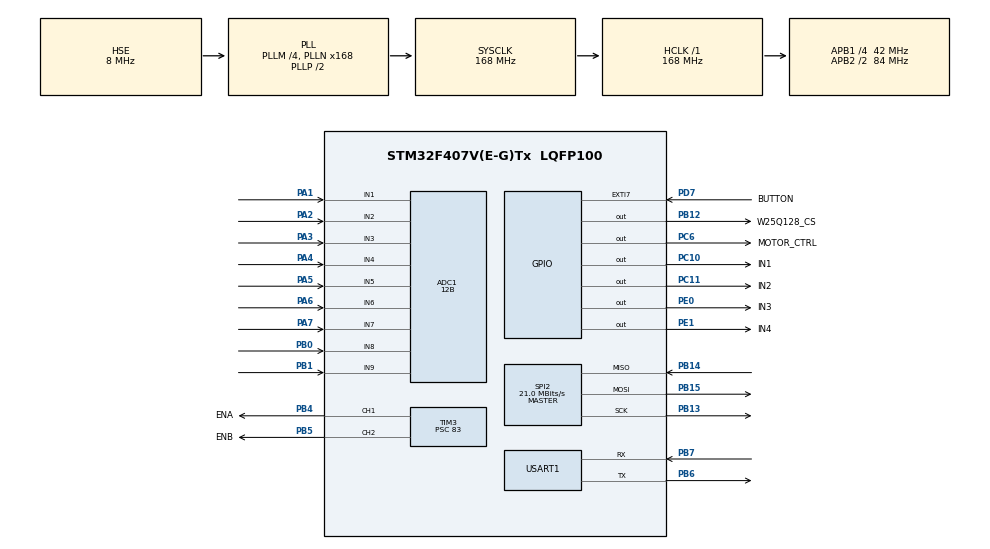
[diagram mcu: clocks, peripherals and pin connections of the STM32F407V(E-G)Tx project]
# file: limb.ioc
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ADC1.Channel-0\#ChannelRegularConversion=ADC_CHANNEL_1
ADC1.Channel-1\#ChannelRegularConversion=ADC_CHANNEL_2
ADC1.Channel-2\#ChannelRegularConversion=ADC_CHANNEL_3
ADC1.Channel-3\#ChannelRegularConversion=ADC_CHANNEL_4
ADC1.Channel-4\#ChannelRegularConversion=ADC_CHANNEL_5
ADC1.Channel-5\#ChannelRegularConversion=ADC_CHANNEL_6
ADC1.Channel-6\#ChannelRegularConversion=ADC_CHANNEL_7
ADC1.Channel-7\#ChannelRegularConversion=ADC_CHANNEL_8
ADC1.Channel-8\#ChannelRegularConversion=ADC_CHANNEL_9
ADC1.ClockPrescaler=ADC_CLOCK_SYNC_PCLK_DIV8
ADC1.ContinuousConvMode=ENABLE
ADC1.DMAContinuousRequests=ENABLE
ADC1.DataAlign=ADC_DATAALIGN_RIGHT
ADC1.DiscontinuousConvMode=DISABLE
ADC1.EOCSelection=ADC_EOC_SINGLE_CONV
ADC1.EnableAnalogWatchDog=false
ADC1.ExternalTrigConv=ADC_SOFTWARE_START
ADC1.ExternalTrigConvEdge=ADC_EXTERNALTRIGCONVEDGE_NONE
ADC1.InjNumberOfConversion=0
ADC1.NbrOfConversion=9
ADC1.NbrOfConversionFlag=1
ADC1.Rank-0\#ChannelRegularConversion=1
ADC1.Rank-1\#ChannelRegularConversion=2
ADC1.Rank-2\#ChannelRegularConversion=3
ADC1.Rank-3\#ChannelRegularConversion=4
ADC1.Rank-4\#ChannelRegularConversion=5
ADC1.Rank-5\#ChannelRegularConversion=6
ADC1.Rank-6\#ChannelRegularConversion=7
ADC1.Rank-7\#ChannelRegularConversion=8
ADC1.Rank-8\#ChannelRegularConversion=9
ADC1.Resolution=ADC_RESOLUTION_12B
ADC1.SamplingTime-0\#ChannelRegularConversion=ADC_SAMPLETIME_144CYCLES
ADC1.SamplingTime-1\#ChannelRegularConversion=ADC_SAMPLETIME_144CYCLES
ADC1.SamplingTime-2\#ChannelRegularConversion=ADC_SAMPLETIME_144CYCLES
ADC1.SamplingTime-3\#ChannelRegularConversion=ADC_SAMPLETIME_144CYCLES
ADC1.SamplingTime-4\#ChannelRegularConversion=ADC_SAMPLETIME_144CYCLES
ADC1.SamplingTime-5\#ChannelRegularConversion=ADC_SAMPLETIME_144CYCLES
ADC1.SamplingTime-6\#ChannelRegularConversion=ADC_SAMPLETIME_144CYCLES
ADC1.SamplingTime-7\#ChannelRegularConversion=ADC_SAMPLETIME_144CYCLES
ADC1.SamplingTime-8\#ChannelRegularConversion=ADC_SAMPLETIME_144CYCLES
ADC1.ScanConvMode=ENABLE
ADC1.master=1
Dma.ADC1.0.Direction=DMA_PERIPH_TO_MEMORY
Dma.ADC1.0.FIFOMode=DMA_FIFOMODE_DISABLE
Dma.ADC1.0.Instance=DMA2_Stream0
Dma.ADC1.0.MemDataAlignment=DMA_MDATAALIGN_WORD
Dma.ADC1.0.MemInc=DMA_MINC_ENABLE
Dma.ADC1.0.Mode=DMA_CIRCULAR
Dma.ADC1.0.PeriphDataAlignment=DMA_PDATAALIGN_WORD
Dma.ADC1.0.PeriphInc=DMA_PINC_DISABLE
Dma.ADC1.0.Priority=DMA_PRIORITY_HIGH
Dma.Request0=ADC1
Mcu.Family=STM32F4
Mcu.Name=STM32F407V(E-G)Tx
Mcu.Package=LQFP100
NVIC.DMA2_Stream0_IRQn=true\:3\:0\:true\:false\:true\:false
NVIC.EXTI9_5_IRQn=true\:1\:0\:true\:false\:true\:true
NVIC.PriorityGroup=NVIC_PRIORITYGROUP_2
NVIC.TIM3_IRQn=true\:3\:0\:true\:false\:true\:true
NVIC.TIM6_DAC_IRQn=true\:2\:0\:true\:false\:true\:true
PA1.Signal=ADCx_IN1
PA2.Signal=ADCx_IN2
PA3.Signal=ADCx_IN3
PA4.Signal=ADCx_IN4
PA5.Signal=ADCx_IN5
PA6.Signal=ADCx_IN6
PA7.Signal=ADCx_IN7
PB0.Signal=ADCx_IN8
PB1.Signal=ADCx_IN9
PB12.GPIO_Label=W25Q128_CS
PB12.PinState=GPIO_PIN_SET
PB12.Signal=GPIO_Output
PB13.Mode=Full_Duplex_Master
PB13.Signal=SPI2_SCK
PB14.Mode=Full_Duplex_Master
PB14.Signal=SPI2_MISO
PB15.Mode=Full_Duplex_Master
PB15.Signal=SPI2_MOSI
PB4.GPIO_Label=ENA
PB4.Signal=S_TIM3_CH1
PB5.GPIO_Label=ENB
PB5.Signal=S_TIM3_CH2
PB6.Mode=Asynchronous
PB6.Signal=USART1_TX
PB7.Mode=Asynchronous
PB7.Signal=USART1_RX
PC10.GPIO_Label=IN1
PC10.Signal=GPIO_Output
PC11.GPIO_Label=IN2
PC11.Signal=GPIO_Output
PC6.GPIO_Label=MOTOR_CTRL
PC6.PinState=GPIO_PIN_SET
PC6.Signal=GPIO_Output
PD7.GPIO_Label=BUTTON
PD7.GPIO_ModeDefaultEXTI=GPIO_MODE_IT_FALLING
PD7.GPIO_PuPd=GPIO_PULLUP
PD7.Signal=GPXTI7
PE0.GPIO_Label=IN3
PE0.Signal=GPIO_Output
PE1.GPIO_Label=IN4
PE1.Signal=GPIO_Output
PH0-OSC_IN.Mode=HSE-External-Oscillator
PH0-OSC_IN.Signal=RCC_OSC_IN
PH1-OSC_OUT.Mode=HSE-External-Oscillator
PH1-OSC_OUT.Signal=RCC_OSC_OUT
ProjectManager.HeapSize=0x200
ProjectManager.StackSize=0x400
ProjectManager.TargetToolchain=MDK-ARM V5
RCC.48MHZClocksFreq_Value=84000000
RCC.AHBFreq_Value=168000000
RCC.APB1CLKDivider=RCC_HCLK_DIV4
RCC.APB1Freq_Value=42000000
RCC.APB1TimFreq_Value=84000000
RCC.APB2CLKDivider=RCC_HCLK_DIV2
RCC.APB2Freq_Value=84000000
RCC.APB2TimFreq_Value=168000000
RCC.CortexFreq_Value=168000000
RCC.HCLKFreq_Value=168000000
RCC.HSE_VALUE=8000000
RCC.HSI_VALUE=16000000
RCC.LSE_VALUE=32768
RCC.PLLM=4
RCC.PLLN=168
RCC.PLLSourceVirtual=RCC_PLLSOURCE_HSE
RCC.SYSCLKFreq_VALUE=168000000
RCC.SYSCLKSource=RCC_SYSCLKSOURCE_PLLCLK
RCC.VCOOutputFreq_Value=336000000
SH.ADCx_IN1.0=ADC1_IN1,IN1
SH.ADCx_IN2.0=ADC1_IN2,IN2
SH.ADCx_IN3.0=ADC1_IN3,IN3
SH.ADCx_IN4.0=ADC1_IN4,IN4
SH.ADCx_IN5.0=ADC1_IN5,IN5
SH.ADCx_IN6.0=ADC1_IN6,IN6
SH.ADCx_IN7.0=ADC1_IN7,IN7
SH.ADCx_IN8.0=ADC1_IN8,IN8
SH.ADCx_IN9.0=ADC1_IN9,IN9
SH.S_TIM3_CH1.0=TIM3_CH1,PWM Generation1 CH1
SH.S_TIM3_CH2.0=TIM3_CH2,PWM Generation2 CH2
SPI2.CLKPhase=SPI_PHASE_2EDGE
SPI2.CLKPolarity=SPI_POLARITY_HIGH
SPI2.CalculateBaudRate=21.0 MBits/s
SPI2.Direction=SPI_DIRECTION_2LINES
SPI2.Mode=SPI_MODE_MASTER
SPI2.VirtualType=VM_MASTER
TIM3.Channel-PWM\ Generation1\ CH1=TIM_CHANNEL_1
TIM3.Channel-PWM\ Generation2\ CH2=TIM_CHANNEL_2
TIM3.Period=100
TIM3.Prescaler=83
TIM3.Pulse-PWM\ Generation1\ CH1=50
TIM3.Pulse-PWM\ Generation2\ CH2=80
TIM6.Period=1000
TIM6.Prescaler=83
USART1.VirtualMode=VM_ASYNC
VP_TIM6_VS_ClockSourceINT.Mode=Enable_Timer
board=limb

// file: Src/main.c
/**
  ******************************************************************************
  * File Name          : main.c
  * Description        : Main program body
  ******************************************************************************
  ** This notice applies to any and all portions of this file
  * that are not between comment pairs USER CODE BEGIN and
  * USER CODE END. Other portions of this file, whether
  * inserted by the user or by software development tools
  * are owned by their respective copyright owners.
  *
  * COPYRIGHT(c) 2018 STMicroelectronics
  *
  * Redistribution and use in source and binary forms, with or without modification,
  * are permitted provided that the following conditions are met:
  *   1. Redistributions of source code must retain the above copyright notice,
  *      this list of conditions and the following disclaimer.
  *   2. Redistributions in binary form must reproduce the above copyright notice,
  *      this list of conditions and the following disclaimer in the documentation
  *      and/or other materials provided with the distribution.
  *   3. Neither the name of STMicroelectronics nor the names of its contributors
  *      may be used to endorse or promote products derived from this software
  *      without specific prior written permission.
  *
  * THIS SOFTWARE IS PROVIDED BY THE COPYRIGHT HOLDERS AND CONTRIBUTORS "AS IS"
  * AND ANY EXPRESS OR IMPLIED WARRANTIES, INCLUDING, BUT NOT LIMITED TO, THE
  * IMPLIED WARRANTIES OF MERCHANTABILITY AND FITNESS FOR A PARTICULAR PURPOSE ARE
  * DISCLAIMED. IN NO EVENT SHALL THE COPYRIGHT HOLDER OR CONTRIBUTORS BE LIABLE
  * FOR ANY DIRECT, INDIRECT, INCIDENTAL, SPECIAL, EXEMPLARY, OR CONSEQUENTIAL
  * DAMAGES (INCLUDING, BUT NOT LIMITED TO, PROCUREMENT OF SUBSTITUTE GOODS OR
  * SERVICES; LOSS OF USE, DATA, OR PROFITS; OR BUSINESS INTERRUPTION) HOWEVER
  * CAUSED AND ON ANY THEORY OF LIABILITY, WHETHER IN CONTRACT, STRICT LIABILITY,
  * OR TORT (INCLUDING NEGLIGENCE OR OTHERWISE) ARISING IN ANY WAY OUT OF THE USE
  * OF THIS SOFTWARE, EVEN IF ADVISED OF THE POSSIBILITY OF SUCH DAMAGE.
  *
  ******************************************************************************
  */

#include "main.h"
#include "stm32f4xx_hal.h"
#include "adc.h"
#include "dma.h"
#include "spi.h"
#include "tim.h"
#include "usart.h"
#include "gpio.h"

/* USER CODE BEGIN Includes */
#include "config.h"
#include "button.h"
#include "motor.h"
#include "calculate.h"
#include "DCMotor.h"
#include "w25q128.h"

/* USER CODE END Includes */

/* USER CODE BEGIN PV */
/* Private variables ---------------------------------------------------------*/
uint8_t PredictResult[500]={0};
uint8_t motiondetect=0;
/* USER CODE END PV */

void SystemClock_Config(void);

/* USER CODE BEGIN PFP */
/* Private function prototypes -----------------------------------------------*/

/* USER CODE END PFP */

int main(void)
{

  /* MCU Configuration----------------------------------------------------------*/

  /* Reset of all peripherals, Initializes the Flash interface and the Systick. */
  HAL_Init();

  /* Configure the system clock */
  SystemClock_Config();

  /* Initialize all configured peripherals */
  MX_GPIO_Init();
  MX_DMA_Init();
  MX_ADC1_Init();
  MX_USART1_UART_Init();
  MX_TIM6_Init();
  MX_TIM3_Init();
  MX_SPI2_Init();

  /* USER CODE BEGIN 2 */
	HAL_TIM_Base_Start_IT(&htim6);//定时器中断开启
  HAL_ADC_Start_DMA(&hadc1,AD_Value,9);//ADC循环模式开启
	InitFilter();//滤波器初始化

  HAL_TIM_Base_Start_IT(&htim3);
	HAL_TIM_PWM_Start(&htim3,TIM_CHANNEL_1);
	HAL_TIM_PWM_Start(&htim3,TIM_CHANNEL_2);

	Motor_Long_Strong();//电机震动
//	MotorA_Reverse();
	MotorA_Forward();//手张开
  /* USER CODE END 2 */

  /* Infinite loop */
  /* USER CODE BEGIN WHILE */
  Extract_from_flash();

  while (1)
  {
  /* USER CODE END WHILE */

  /* USER CODE BEGIN 3 */
    #if 1
    TaskKeyFunc();
		if(TimeFlag)
		{
			TimeFlag = 0;
			DataPreProcess();
		}

    if(TrainFlag ==1)
	  {
			 if((DataBufferSize-FeatIndexReg+PushToBuf.DataIndex)%100==0)
			 {
				 if(TrainTimes<TrainTimesSet)
				 {
////////////////////////////////////////////////////////////////////////
					FeatExtract(DataBuffer);
				  if((TrainBlank+3)%50>=9)///6-46, 56-96.............
					{
						for(int i=0;i<N;i++)
						{
						 feat_matrix[WindowCount][i]=feat[i];
						}
						WindowCount++;//WindowCount++
						///训练的时候显示
						if(WindowCount == 41+(FeatMatLength*TrainTimes))
							{
								printf("Train action 1\r\n");
								Motor_Attention();
							}
						if((WindowCount == 41*2+(FeatMatLength*TrainTimes))||(WindowCount == 41*3+(FeatMatLength*TrainTimes)))
							{
								if(WindowCount == 41*2+(FeatMatLength*TrainTimes))
								{
									MotorA_Forward();
                  HAL_Delay(1100);
								}
								if(WindowCount == 41*3+(FeatMatLength*TrainTimes))
								{
								  Motor_Attention();
								}
								printf("Train action 2\r\n");
							}
						if((WindowCount == 41*4+(FeatMatLength*TrainTimes))||(WindowCount == 41*5+(FeatMatLength*TrainTimes)))
							{
								if(WindowCount == 41*4+(FeatMatLength*TrainTimes))
								{
								  MotorB_Forward();
		              HAL_Delay(1000);
		              MotorB_Stop();
								}
								if(WindowCount == 41*5+(FeatMatLength*TrainTimes))
								{
								  Motor_Attention();
								}
								printf("Train action 3\r\n");
							}
						if((WindowCount == 41*6+(FeatMatLength*TrainTimes))||(WindowCount == 41*7+(FeatMatLength*TrainTimes)))
							{
								if(WindowCount == 41*6+(FeatMatLength*TrainTimes))
								{
								  MotorB_Reverse();
		              HAL_Delay(1000);
		              MotorB_Stop();
								}
								if(WindowCount == 41*7+(FeatMatLength*TrainTimes))
								{
									Motor_Attention();
								}
								printf("Train action 4\r\n");
							}
//						if((WindowCount == 41*8)||(WindowCount == 41*9))
//							{printf("Train action 5\r\n");}
						if(WindowCount==FeatMatLength*(TrainTimes+1))
							{
								Motor_Long_Strong();
								printf("Train complete\r\n");
								TrainTimes++;///下一轮训练
								if(TrainTimes<TrainTimesSet)
								{
									MotorA_Reverse();
									HAL_Delay(1500);
								}
							}
						///训练的时候显示
          }
          TrainBlank++;	///397就结束
//////////////////////////////////////////////////////////////////////////////////////////
				}///////////////////if(TrainTimes<3) end
		  }

			 if(WindowCount==FeatMatLength*TrainTimesSet)//训练数据收集完成
			 {
				 LDA_train(feat_matrix);
				//数据float32_t ProjectionMat[32][6];float32_t Bias_Mat[6];存储在w25q128
          Save_to_flash();
//					LED1=0;HAL_Delay(50);LED2=0;HAL_Delay(50);LED3=0;HAL_Delay(50);LED4=0;HAL_Delay(50);LED5=0;HAL_Delay(50);//提示存储
//					LED1=1;HAL_Delay(50);LED2=1;HAL_Delay(50);LED3=1;HAL_Delay(50);LED4=1;HAL_Delay(50);LED5=1;HAL_Delay(50);
				}
	  }

		if(TestFlag==1)
		{
			if((DataBufferSize-FeatIndexReg+PushToBuf.DataIndex)%100==0)
			{
				FeatExtract(DataBuffer);
				PredictResult[PredictIndex%500]=LDA_predict(feat);
				motiondetect=PredictResult[PredictIndex%500];
				if(PredictIndex>1&&PredictResult[PredictIndex%500]==PredictResult[(PredictIndex-1)%500]&&
				  PredictResult[(PredictIndex-1)%500]==PredictResult[(PredictIndex-2)%500])
				{
					switch(motiondetect)
					{
					case 0:
						//模式1
						if(GraspTime == 1)
						{
							ADCMotorMax = 530;
							htim3.Instance->CCR1=	30;
						}
						else if(GraspTime == 6)
						{
							ADCMotorMax = 700;
							htim3.Instance->CCR1=	80;
						}
						else if(GraspTime == 12)
						{
							GraspTime = 0;
						}
					  GraspTime++;
						MotorB_Stop();
						MotorA_Reverse();
						{printf("1\r\n");}
						break;
					case 1:
						//模式2
					  GraspTime = 1;
					  MotorA_Stop();
					  htim3.Instance->CCR1 = 50;

						MotorB_Stop();
						MotorA_Forward();
						{printf("2\r\n");}
						break;
					case 2:
						//模式3
						{printf("3\r\n");}
					  MotorA_Stop();
					  MotorB_Forward();
						break;
					case 3:
						//模式4
						{printf("4\r\n");}
					  MotorA_Stop();
					  MotorB_Reverse();
						break;
					case 4:
						//模式5
					 {printf("r\r\n");}
//					 MotorA_Stop();
					 htim3.Instance->CCR1 = 0;
					 GraspTime = 1;
					 MotorB_Stop();
						break;
					default:
							break;
					 }
				}
				PredictIndex++;//PredictIndex++;
				if(PredictIndex ==500)
				{
					PredictIndex = 0;
				}
			}
		}
  #endif
  }
  /* USER CODE END 3 */

}

/** System Clock Configuration
*/
void SystemClock_Config(void)
{

  RCC_OscInitTypeDef RCC_OscInitStruct;
  RCC_ClkInitTypeDef RCC_ClkInitStruct;

    /**Configure the main internal regulator output voltage
    */
  __HAL_RCC_PWR_CLK_ENABLE();

  __HAL_PWR_VOLTAGESCALING_CONFIG(PWR_REGULATOR_VOLTAGE_SCALE1);

    /**Initializes the CPU, AHB and APB busses clocks
    */
  RCC_OscInitStruct.OscillatorType = RCC_OSCILLATORTYPE_HSE;
  RCC_OscInitStruct.HSEState = RCC_HSE_ON;
  RCC_OscInitStruct.PLL.PLLState = RCC_PLL_ON;
  RCC_OscInitStruct.PLL.PLLSource = RCC_PLLSOURCE_HSE;
  RCC_OscInitStruct.PLL.PLLM = 4;
  RCC_OscInitStruct.PLL.PLLN = 168;
  RCC_OscInitStruct.PLL.PLLP = RCC_PLLP_DIV2;
  RCC_OscInitStruct.PLL.PLLQ = 4;
  if (HAL_RCC_OscConfig(&RCC_OscInitStruct) != HAL_OK)
  {
    _Error_Handler(__FILE__, __LINE__);
  }

    /**Initializes the CPU, AHB and APB busses clocks
    */
  RCC_ClkInitStruct.ClockType = RCC_CLOCKTYPE_HCLK|RCC_CLOCKTYPE_SYSCLK
                              |RCC_CLOCKTYPE_PCLK1|RCC_CLOCKTYPE_PCLK2;
  RCC_ClkInitStruct.SYSCLKSource = RCC_SYSCLKSOURCE_PLLCLK;
  RCC_ClkInitStruct.AHBCLKDivider = RCC_SYSCLK_DIV1;
  RCC_ClkInitStruct.APB1CLKDivider = RCC_HCLK_DIV4;
  RCC_ClkInitStruct.APB2CLKDivider = RCC_HCLK_DIV2;

  if (HAL_RCC_ClockConfig(&RCC_ClkInitStruct, FLASH_LATENCY_5) != HAL_OK)
  {
    _Error_Handler(__FILE__, __LINE__);
  }

    /**Configure the Systick interrupt time
    */
  HAL_SYSTICK_Config(HAL_RCC_GetHCLKFreq()/1000);

    /**Configure the Systick
    */
  HAL_SYSTICK_CLKSourceConfig(SYSTICK_CLKSOURCE_HCLK);

  /* SysTick_IRQn interrupt configuration */
  HAL_NVIC_SetPriority(SysTick_IRQn, 0, 0);
}

void _Error_Handler(char * file, int line)
{
  while(1)
  {
  }
}

/************************ (C) COPYRIGHT STMicroelectronics *****END OF FILE****/
